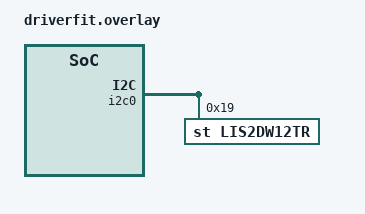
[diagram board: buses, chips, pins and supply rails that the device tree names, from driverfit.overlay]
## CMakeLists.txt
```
cmake_minimum_required(VERSION 3.20.0)
find_package(Zephyr REQUIRED HINTS $ENV{ZEPHYR_BASE})

project(project)

target_sources(app PRIVATE src/main.c)
target_sources(app PRIVATE src/i2c.c)
target_include_directories(app PRIVATE inc)
```

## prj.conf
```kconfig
# Enable the I2C driver
CONFIG_I2C=y
#CONFIG_I2C_NRFX=y

# see the logging from a serial terminal and enable the serial driver
#CONFIG_SERIAL=y

# enable support for floating-point format specifiers, so we can print the temperature readings as floats
CONFIG_CBPRINTF_FP_SUPPORT=y

# Enable Pin Control
CONFIG_PINCTRL=y

#CONFIG_BT=y
#CONFIG_BT_PERIPHERAL=y
#CONFIG_BT_BAS=y

#CONFIG_EEPROM=y

#CONFIG_SENSOR=y

# This driver only uses spi_write() with the SPIM instance it allocates,
# so PAN 58 doesn't matter, because the RX length is always 0.
#CONFIG_SOC_NRF52832_ALLOW_SPIM_DESPITE_PAN_58=y
#CONFIG_SPI=y
#CONFIG_LED_STRIP=y
# CONFIG_LED_STRIP_LOG_LEVEL_DBG=y
#CONFIG_WS2812_STRIP=y
```

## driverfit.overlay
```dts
// To get started, press Ctrl+Space to bring up the completion menu and view the available nodes.

// You can also use the buttons in the sidebar to perform actions on nodes.
// Actions currently available include:

// * Enabling / disabling the node
// * Adding the bus to a bus
// * Removing the node
// * Connecting ADC channels

// For more help, browse the DeviceTree documentation at https://docs.zephyrproject.org/latest/guides/dts/index.html
// You can also visit the nRF DeviceTree extension documentation at https://nrfconnect.github.io/vscode-nrf-connect/devicetree/nrfdevicetree.html


//#include <zephyr/dt-bindings/led/led.h>

/* #define SPI_FREQ    4000000
#define ZERO_FRAME  0x40
#define ONE_FRAME   0x70
*/

&i2c0 {
    compatible = "nordic,nrf-twi";
	status = "okay";
	pinctrl-0 = <&i2c0_default>;
	pinctrl-1 = <&i2c0_sleep>;
	pinctrl-names = "default", "sleep";

    /* twis_device1: bmp280@76{
        compatible = "bosch,bmp280";
        status = "okay";
        reg = < 0x76 >;
        label = "BMP280";
    }; */

    lis2dw12tr: lis2dw12tr@19 {
        compatible = "st,lis2dw12tr";
        status = "okay";
        label = "LIS2DW12TR";
        reg = <0x19>;
    };

    /* twis_device3: at24c512c@50 {
        compatible = "atmel,AT24C512C";
        status = "okay";
        label = "AT24C512C";
        reg = <0x50>;
    };

    twis_device4: at24c512c@5B {
        compatible = "rohm,BH1790GLC";
        status = "okay";
        label = "BH1790GLC";
        reg = <0x5B>;
    };

    twis_device5: max17260@1A {
        compatible = "maxim,MAX17260";
        status = "okay";
        label = "MAX17260";
        reg = <0x1A>;
    }; */
};

// &spi0 {
   //  compatible = "nordic,nrf-spim";
    // status = "okay";
	// led_strip: ws2812@0 {
		// compatible = "worldsemi,ws2812-spi";

		/* SPI */
		// reg = <0>; /* ignored, but necessary for SPI bindings */
        // spi-max-frequency = < SPI_FREQ >;

		/* WS2812 */
		// chain-length = <16>; /* arbitrary; change at will */
		// color-mapping = <LED_COLOR_ID_GREEN
			//	 LED_COLOR_ID_RED
				//  LED_COLOR_ID_BLUE>;
		//spi-one-frame = <ONE_FRAME>;
		// spi-zero-frame = <ZERO_FRAME>;
	//};
//};

/* {
	aliases {
		led-strip = &led_strip;
	};
}; */
```

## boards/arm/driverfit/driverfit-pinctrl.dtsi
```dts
// Based on:
// https://github.com/zephyrproject-rtos/zephyr/blob/main/boards/arm/adafruit_feather_nrf52840/adafruit_feather_nrf52840-pinctrl.dtsi
// and https://developer.nordicsemi.com/nRF_Connect_SDK/doc/2.3.0/nrf/app_dev/pin_control/index.html

&pinctrl{
    i2c0_default: i2c0_default {
		group1 {
			psels = <NRF_PSEL(TWIM_SDA, 0, 9)>,
				<NRF_PSEL(TWIM_SCL, 0, 6)>;
		};
	};

	i2c0_sleep: i2c0_sleep {
		group1 {
			psels = <NRF_PSEL(TWIM_SDA, 0, 9)>,
				<NRF_PSEL(TWIM_SCL, 0, 6)>;
			low-power-enable;
		};
	};

	/* spi0_default: spi0_default {
		group1 {
			psels = <NRF_PSEL(SPIM_MOSI, 0, 29)>;
		};
	};

	spi0_sleep: spi0_sleep {
		group1 {
			psels = <NRF_PSEL(SPIM_MOSI, 0, 29)>;
			low-power-enable;
		};
	}; */
};
```

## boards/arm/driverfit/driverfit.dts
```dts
// Copyright (c) 2023 Nordic Semiconductor ASA
// SPDX-License-Identifier: Apache-2.0

/dts-v1/;
#include <nordic/nrf52832_qfaa.dtsi>
#include "driverfit-pinctrl.dtsi"

/ {
	model = "DriverFit";
	compatible = "nordic,driverfit";

	chosen {
		zephyr,sram = &sram0;
		zephyr,flash = &flash0;
		zephyr,code-partition = &slot0_partition;
	};
};

&flash0 {
	partitions {
		compatible = "fixed-partitions";
		#address-cells = <1>;
		#size-cells = <1>;

		boot_partition: partition@0 {
			label = "mcuboot";
			reg = <0x0 0xc000>;
		};
		slot0_partition: partition@c000 {
			label = "image-0";
			reg = <0xc000 0x32000>;
		};
		slot1_partition: partition@3e000 {
			label = "image-1";
			reg = <0x3e000 0x32000>;
		};
		scratch_partition: partition@70000 {
			label = "image-scratch";
			reg = <0x70000 0xa000>;
		};
		storage_partition: partition@7a000 {
			label = "storage";
			reg = <0x7a000 0x6000>;
		};
	};
};
```

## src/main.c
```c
#include <zephyr/kernel.h>
#include <zephyr/drivers/i2c.h>
#include <zephyr/sys/printk.h>
#include <zephyr/logging/log.h>

// there are many examples on C:\ncs\v2.4.1\zephyr\samples, including - bluetooth peripheral heart rate (hr), rgb led, eeprom, i2c etc 

int main(void)
{
        return 0;
}
```

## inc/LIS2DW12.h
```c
/* @file LIS2DW12.h
   @brief header file for LIS2DW12 src file
   @author bheesma-10
   https://github.com/leagueofassassins/NRF52_BLE_CENTRAL-ESP32_BLE_PERIPHERAL/blob/main/BLE_Peripheral_NRF52/main/LIS2DW12.h
*/


/* 
  #include "driver/gpio.h"
  #include "driver/i2c.h"
  #include  "esp_err.h"
  #include  "esp_log.h"
  #include  "esp_system.h"
*/

#include <stdint.h>

/***********************Slave Address************************/

#define LIS2DW12_ADDRESS                0x19

/********************Register Definitions********************/


/*Read-only*/
#define OUT_T_L                          0x0D
#define OUT_T_H                          0x0E
#define WHO_AM_I                         0x0F
#define WHO_AM_I_VALUE                         0x44
#define OUT_T                            0x26
#define STATUS                           0x27
#define OUT_X_L                          0x28
#define OUT_X_H                          0x29
#define OUT_Y_L                          0x2A
#define OUT_Y_H                          0x2B
#define OUT_Z_L                          0x2C
#define OUT_Z_H                          0x2D

#define FIFO_SAMPLES                     0x2F

#define STATUS_DUP                       0x37
#define WAKE_UP_SRC                      0x38
#define TAP_SRC                          0x39
#define SIXD_SRC                         0x3A
#define ALL_INT_SRC                      0x3B


/*Read-Write both*/
#define CTRL1                            0x20
#define CTRL2                            0x21
#define CTRL3                            0x22
#define CTRL4_INT1_PAD_CTRL              0x23
#define CTRL5_INT2_PAD_CTRL              0x24
#define CTRL6                            0x25

#define FIFO_CTRL                        0x2E

#define TAP_THS_X                        0x30
#define TAP_THS_Y                        0x31
#define TAP_THS_Z                        0x32
#define INT_DUR                          0x33
#define WAKE_UP_THS                      0x34
#define WAKE_UP_DUR                      0x35
#define FREE_FALL                        0x36

#define X_OFS_USR                        0x3C
#define Y_OFS_USR                        0x3D
#define Z_OFS_USR                        0x3E
#define CTRL7                            0x3F


/********************Bits Definition*********************/

/*
  @brief: CTRL1 register bits
  @default: 00000000
  */

/*Low-power mode selection*/
#define LP_MODE_POS                    (0U)
#define LP_MODE_MSK                    (0x03UL << LP_MODE_POS)
#define LP_MODE1                       ~(LP_MODE_MSK)
#define LP_MODE2                       (0x01UL << LP_MODE_POS)
#define LP_MODE3                       (0x02UL << LP_MODE_POS)
#define LP_MODE4                       (LP_MODE_MSK)


/*Mode selection*/
#define MODE_POS                       (2U)
#define MODE_MSK                       (0x03UL << MODE_POS)
#define LOW_POWER_MODE                 ~(MODE_MSK)
#define HIGH_PERFORMANCE_MODE          (0x01UL << MODE_POS)
#define SINGLE_DATA_CONVERSION_MODE    (0x02UL << MODE_POS)


/*Data rate configuration*/
#define ODR_POS                        (4U)
#define ODR_MSK                        (0x0FUL << ODR_POS)
#define POWER_DOWN                     ~(ODR_MSK)
#define LOW_POWER_MODE_1_6HZ           (0x01UL << ODR_POS)
#define LOW_POWER_MODE_12_5HZ          (0x02UL << ODR_POS)
#define LOW_POWER_MODE_25HZ            (0x03UL << ODR_POS)
#define LOW_POWER_MODE_50HZ            (0x04UL << ODR_POS)
#define LOW_POWER_MODE_100HZ           (0x05UL << ODR_POS)
#define LOW_POWER_MODE_200HZ           (0x06UL << ODR_POS)
#define LOW_POWER_MODE_400HZ           (0x07UL << ODR_POS)
#define LOW_POWER_MODE_800HZ           (0x08UL << ODR_POS)
#define LOW_POWER_MODE_1600HZ          (0x09UL << ODR_POS)

/*
  @brief: CTRL2 register
  @default: 00000100
  */

#define SIM_POS                        (0U)
#define SIM_MSK                        (0x01UL << SIM_POS)

#define I2C_DISABLE_POS                (1U)
#define I2C_DISABLE_MSK                (0x01UL << I2C_DISABLE_POS)

#define IF_ADD_INC_POS                 (2U)
#define IF_ADD_INC_MSK                 (0x01UL << IF_ADD_INC_POS)

#define BDU_POS                        (3U)
#define BDU_MSK                        (0x01UL << BDU_POS)

#define CS_PU_DISC_POS                 (4U)
#define CS_PU_DISC_MSK                 (0x01UL << CS_PU_DISC_POS)

#define SOFT_RESET_POS                 (6U)
#define SOFT_RESET_MSK                 (0x01UL << SOFT_RESET_POS)

#define BOOT_POS                       (7U)
#define BOOT_MSK                       (0x01UL << BOOT_POS)

/*
  @brief: CTRL3 register
  @default: 00000000
  */

#define SLP_MODE1_POS                  (0U)
#define SLP_MODE1_MSK                  (0x01UL << SLP_MODE1_POS)

#define SLP_MODE_SEL_POS               (1U)
#define SLP_MODE_SEL_MSK               (0x01UL << SLP_MODE_SEL_POS)

#define H_LACTIVE_POS                  (3U)
#define H_LACTIVE_MSK                  (0x01UL << H_LACTIVE_POS)

#define LIR_POS                        (4U)
#define LIR_MSK                        (0x01UL << LIR_POS)

#define PP_OD_POS                      (5U)
#define PP_OD_MSK                      (0x01UL << PP_OD_POS)

#define SELF_TEST_POS                  (6U)
#define SELF_TEST_MSK                  (0x03UL << SELF_TEST_POS)
#define NORMAL_MODE                    ~(SELF_TEST_MSK)
#define POS_SELF_TEST                  (0x01UL << SELF_TEST_POS)
#define NEG_SELF_TEST                  (0x02UL << SELF_TEST_POS)


/*
  @brief: CTRL6 register
  @default: 00000000
  */

#define LOW_NOISE_POS                  (2U)
#define LOW_NOISE_POS_MSK              (0x01UL << LOW_NOISE_POS)

#define FDS_POS                        (3U)
#define FDS_MSK                        (0x01UL << FDS_POS)

#define FS_POS                         (4U)
#define FS_MSK                         (0x03UL << FS_POS)
#define FS_2G                          ~(FS_MSK)
#define FS_4G                          (0x01UL << FS_POS)
#define FS_8G                          (0x02UL << FS_POS)
#define FS_16G                         (0x03UL << FS_POS)


#define BW_FILT_POS                    (6U)
#define BW_FILT_MSK                    (0x03UL << BW_FILT_POS)
#define BW_FILT_ODR_2                  ~(BW_FILT_MSK)
#define BW_FILT_ODR_4                  (0x01UL << BW_FILT_POS)
#define BW_FILT_ODR_10                 (0x02UL << BW_FILT_POS)
#define BW_FILT_ODR_20                 (0x03UL << BW_FILT_POS)

/*
  @brief: FIFO_CTRL register
  @default: 00000000
  */

#define FTH_POS                        (0U)
#define FTH_MSK                        (0x1F << FTH_POS)

#define FMODE_POS                      (5U)
#define FMODE_MSK                      (0x07UL << FMODE_POS)
#define FMODE_BYPASS                   ~(FMODE_MSK)
#define FMODE_FIFO                     (0x01UL << FMODE_POS)
#define FMODE_STREAM_TO_FIFO           (0x03UL << FMODE_POS)
#define FMODE_BYPASS_TO_STREAM         (0x04UL << FMODE_POS)
#define FMODE_STREAM                   (0x06UL << FMODE_POS)

/*X,Y,Z axes raw data*/
union {
  uint16_t x_axes_raw;
  uint8_t  X_OUT[2];
}raw_X_axesvalue;

union{
  uint16_t y_axes_raw;
  uint8_t  Y_OUT[2];
}raw_Y_axesvalue;

union{
  uint16_t z_axes_raw;
  uint8_t  Z_OUT[2];
}raw_Z_axesvalue;


/*functions*/
int i2c_init(void);
void i2c_write_reg(uint8_t register_address,uint8_t data);
uint8_t i2c_read_reg(uint8_t register_address);
void lis2dw12_init(const char* TAG);
uint8_t get_x_axes_data(void);
uint8_t get_y_axes_data(void);
uint8_t get_z_axes_data(void);
```

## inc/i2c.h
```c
#define STTS751_TEMP_HIGH_REG            0x00
#define STTS751_TEMP_LOW_REG             0x02
#define STTS751_CONFIG_REG               0x03
```

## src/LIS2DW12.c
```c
/* 
        I2C Example using NRF Connect SDK
    https://academy.nordicsemi.com/courses/nrf-connect-sdk-fundamentals/lessons/lesson-6-serial-com-i2c/topic/exercise-1-6-2/
*/

// include the header file of the I2C API
#include <zephyr/drivers/i2c.h>
#include <zephyr/drivers/sensor.h>

// To display the sensor readings on the console, we will use the simple printk()
// Include the header file <sys/printk.h> to use printk()
#include <zephyr/sys/printk.h>

#include "LIS2DW12.h"

// Get the node identifier of the sensor
#define I2C0_NODE DT_NODELABEL(lis2dw12tr)

/*
    Define the addresses of the relevant registers (from the sensor datasheet). 
    Typically this information goes into a separate header file (.h). 
    However, for the sake of keeping this demonstration simple, we will add them in main.c.

    I AM USING THE STTS751 SENSOR JUST FOR DEMONSTRATION BECAUSE OF THE TUTORIAL
*/



/*
    Retrieve the API-specific device structure and make sure that the device is ready to use
    With this, we have the pointer to the device structure of the I2C controller and the sensor address(slave device address) 
    and can start using the I2C driver API to configure the sensor connected to the I2C controller
*/

int i2c_init(void){
    static const struct i2c_dt_spec dev_lis2dw12 = I2C_DT_SPEC_GET(I2C0_NODE);

    if (!device_is_ready(dev_lis2dw12.bus)) {
        printk("I2C bus %s is not ready!\n\r",dev_lis2dw12.bus->name);
        return 1;
    }

    int ret = 0;
    uint8_t who_am_i_read = 0;
    ret = i2c_burst_read_dt(&dev_lis2dw12, WHO_AM_I, who_am_i_read, sizeof(who_am_i_read));
    if(ret != 0){
		printk("Failed to read to I2C device address 0x%c at Reg. 0x%c\n", dev_lis2dw12.addr, WHO_AM_I);
        return 1;
	}

    if(who_am_i_read != WHO_AM_I_VALUE){
        printk("Wrong WHO_AM_I value: %c\n", who_am_i_read);
        return 1;
    }

    // CTRL 1
    uint8_t config_ctrl_1[2] = {CTRL1,LOW_POWER_MODE_12_5HZ || HIGH_PERFORMANCE_MODE || LP_MODE4};
    ret = i2c_write_dt(&dev_lis2dw12, config_ctrl_1, sizeof(config_ctrl_1));
	if(ret != 0){
		printk("Failed to write to I2C device address %x at Reg. %x \n", dev_lis2dw12.addr,config_ctrl_1[0]);
		return;
	}

    // IN CTRL 2 EVERYTHING IS AT DEFAULT (0), NO NEED TO WRITE ANYTHING

    // IN CTRL 3 EVERYTHING IS AT DEFAULT (0), NO NEED TO WRITE ANYTHING

    // CTRL 6
    uint8_t config_ctrl_6[2] = {CTRL6,LOW_NOISE_POS_MSK || FS_4G || BW_FILT_ODR_2};
    ret = i2c_write_dt(&dev_lis2dw12, config_ctrl_6, sizeof(config_ctrl_6));
	if(ret != 0){
		printk("Failed to write to I2C device address %x at Reg. %x \n", dev_lis2dw12.addr,config_ctrl_6[0]);
		return;
	}

    /*
        Now we need to configure the sensor by writing to the configuration register.
        configuration register has the address 0x03
        bit combination we need to use is 10001100 which is 0x8C
        This is the value we need to write to the configuration register
    */

    uint8_t config[2] = {STTS751_CONFIG_REG,0x8C};
	ret = i2c_write_dt(&dev_lis2dw12, config, sizeof(config));
	if(ret != 0){
		printk("Failed to write to I2C device address %x at Reg. %x \n", dev_lis2dw12.addr,config[0]);
		return;
	}

    /*
        Once the sensor is configured, 
        reading the temperature is a straightforward task of reading the two registers 
        temperature value high byte and temperature value low byte

        In order to read the registers, 
        we first need to write the address and then issue a read. 
        We will use the i2c_write_read_dt() API to do that in one shot
    */

   while (1){
        uint8_t temp_reading[2]= {0};
        uint8_t sensor_regs[2] ={STTS751_TEMP_LOW_REG,STTS751_TEMP_HIGH_REG};
        ret = i2c_write_read_dt(&dev_lis2dw12,&sensor_regs[0],1,&temp_reading[0],1);
        if(ret != 0){
            printk("Failed to write/read I2C device address %x at Reg. %x \r\n", dev_lis2dw12.addr,sensor_regs[0]);
        }
        ret = i2c_write_read_dt(&dev_lis2dw12,&sensor_regs[1],1,&temp_reading[1],1);
        if(ret != 0){
            printk("Failed to write/read I2C device address %x at Reg. %x \r\n", dev_lis2dw12.addr,sensor_regs[1]);
        }

        /*
            Now that we have the temperature reading in raw bytes, the next step to do is to convert them to Celsius and Fahrenheit
        */

        int temp = ((int)temp_reading[1] * 256 + ((int)temp_reading[0] & 0xF0)) / 16;
        if(temp > 2047)
        {
            temp -= 4096;
        }
        // Convert to engineering units 
        double cTemp = temp * 0.0625;
        double fTemp = cTemp * 1.8 + 32;
        //Print reading to console  
        printk("Temperature in Celsius : %.2f C \n", cTemp);
        printk("Temperature in Fahrenheit : %.2f F \n", fTemp);

        /*
            Build the application and flash it on your development kit. Using a serial terminal you should see the below output
        */
   }

   return 1
    
}
```

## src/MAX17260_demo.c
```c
// max17260.c

#include <zephyr/kernel.h>
#include <zephyr/device.h>
#include <zephyr/devicetree.h>
#include <zephyr/drivers/sensor.h>


int main(void)
{
	const struct device *const dev = DEVICE_DT_GET_ONE(maxim_max17262);

	if (!device_is_ready(dev)) {
		printk("sensor: device not ready.\n");
		return 0;
	}

	while (1) {
		struct sensor_value voltage, avg_current, temperature;
		float i_avg;

		sensor_sample_fetch(dev);
		sensor_channel_get(dev, SENSOR_CHAN_GAUGE_VOLTAGE, &voltage);
		sensor_channel_get(dev, SENSOR_CHAN_GAUGE_AVG_CURRENT,
						  &avg_current);
		sensor_channel_get(dev, SENSOR_CHAN_GAUGE_TEMP, &temperature);

		i_avg = avg_current.val1 + (avg_current.val2 / 1000000.0);

		printk("V: %d.%06d V; I: %f mA; T: %d.%06d °C\n",
		      voltage.val1, voltage.val2, (double)i_avg,
		      temperature.val1, temperature.val2);

		k_sleep(K_MSEC(1000));
	}
	return 0;
}

// Analog Voltage Measurement
#define REG_VCELL 0x09
#define REG_AVGVCELL 0x19
#define REG_MAXMINVOLT 0x1b

// Analog Current Measurement
#define REG_CURRENT 0x0a
#define REG_AVGCURRENT 0x0b
#define REG_MAXMINCURR 0x1c

// Analog temperature measurement
#define REG_TEMP 0x08
#define REG_AVGTA 0x16
#define REG_MAXMINTEMP 0x1a
#define REG_DIETEMP 0x34

// Alert Function
#define REG_VALRTTH 0x01
#define REG_TALRTTH 0x02
#define REG_SALRTTH 0x03
#define REG_IALERTTH 0xb4


// Empty Hold And 99% Hold
#define REG_SOCHOLD 0xd3

// Lithium Iron Phosphate Support
#define REG_SCOCVLIM 0xd1

// Current Measurements
#define REG_CGAIN 0x2e
#define REG_COFF 0x2f

// Copper Trace Current Testing
#define REG_CURVE 0xb9
#define REG_CGTEMPCO 0xb8

// Temperature Measurements
#define REG_AIN 0x27
#define REG_TGAIN 0x2c
#define REG_TOFF 0x2d

// Dynamic Power Output Registers
#define REG_MPPCURRENT 0xd9
#define REG_SPPCURRENT 0xda
#define REG_MAXPEAKPOWER 0xd4
#define REG_SUSPEAKPOWER 0xd5

// Dynamic Power Configuration Registers
#define REG_PACKRESISTANCE 0xd6
#define REG_SYSRESISTANCE 0xd7
#define REG_MINSYSVOLTAGE 0xd8
#define REG_RGAIN 0x43

// ModelGauge m5 Algorithm Battery Parameters
#define REG_VEMPTY 0x3a
#define REG_DESIGNCAP 0x18
#define REG_MODELCFG 0xdb
#define REG_ICHGTERM 0x1e
#define REG_FULLSOCTHR 0x13
#define REG_OCVTABLE0 0x80
#define REG_OCVTABLE15 0x8f
#define REG_XTABLE0 0x90
#define REG_XTABLE15 0x9f
#define REG_QRTABLE00 0x12
#define REG_QRTABLE10 0x22
#define REG_QRTABLE20 0x32
#define REG_QRTABLE30 0x42
#define REG_RCOMP0 0x38
#define REG_TEMPCO 0x39

// ModelGauge m5 Output Registers
#define REG_REPCAP 0x05
#define REG_ATAVCAP 0xdf
#define REG_REPSOC 0x06
#define REG_ATAVSOC 0xde
#define REG_FULLCAPREP 0x10
#define REG_FULLCAP 0x35
#define REG_FULLCAPNOM 0x23
#define REG_TTE 0x11
#define REG_ATTTE 0xdd
#define REG_TTF 0x20
#define REG_CYCLES 0x17
#define REG_STATUS 0x00
#define REG_AGE 0x07
#define REG_TIMERH 0xbe
#define REG_TIMER 0x3e
#define REG_RCELL 0x14
#define REG_VRIPPLE 0xbc

// ModelGauge m5 Algorithm Configuration Registers
#define REG_ATRATE 0x04
#define REG_FILTERCFG 0x29
#define REG_RELAXCFG 0x2a
#define REG_LEARNCFG 0x28
#define REG_MISCCFG 0x2b
#define REG_CONVGCFG 0x49
#define REG_RIPPLECFG 0xbd

// ModelGauge m5 Algorithm Additional Registers
#define REG_DQACC 0x45
#define REG_DPACC 0x46
#define REG_QRESIDUAL 0x0c
#define REG_ATQRESIDUAL 0xdc
#define REG_VFSOC 0xff
#define REG_VFOCV 0xfb
#define REG_QH 0x4d
#define REG_AVCAP 0x1f
#define REG_AVSOC 0x0e
#define REG_MIXCAP 0x0f
#define REG_MIXSOC 0x0d
#define REG_VFREMCAP 0x4a
#define REG_FSTAT 0x3d

// Status And Configuration Registers
#define REG_CONFIG 0x1d
#define REG_CONFIG2 0xbb
#define REG_DEVNAME 0x21
#define REG_SHDNTIMER 0x3f
#define REG_STATUS2 0xb0
#define REG_HIBCFG 0xba
#define REG_SOFTWAKEUP 0x60

// Analog Power Data
#define REG_POWER 0xb1
#define REG_AVGPOWER 0xb3



#define REG_ID_USERMEM2 0xb2
#define REG_TTFCFG 0xb5
#define REG_CVMIXCAP 0xb6
#define REG_CVHALFTIME 0xb7

#define REG_RSENSE_USERMEM3 0xd0
#define REG_VGAIN 0xd2

#define SLAVE_ADDR 0x36

// Get relative state of charge in %
int8_t fg_get_rsoc(void) {
	uint16_t data;
	if(pic18_i2c_read(SLAVE_ADDR, REG_REPSOC, &data, 2) < 0)
		return -1;
	return data/256;
}
// Get relative state of health in %
int8_t fg_get_rsoh(void) {
	uint16_t soh;

	if(pic18_i2c_read(SLAVE_ADDR, REG_AGE, &soh, 2) < 0)
		return -1;
	return soh/256;
}


// *********** Conversion constants and macros ***********
// RSENSE mOhm
#define RSENSE  2
#define RegToVal(x, y)  (x * y / RSENSE)
// VCAP uV - coltage to convert capacity
#define VCAP    5
#define Reg2VCAP(x)    RegToVal(x, VCAP)
// VCURR uV - voltage to convert current
#define VCURR   1.5625
#define Reg2Curr(x)    RegToVal(x, VCURR)
// VPOW u(V*V) - coefficient to calculate power measurements
#define VPOW    8
#define Reg2Pow(x)     RegToVal(x, VPOW)
// VoltageStep
#define Reg2mV(x)    (x /12.8)

// Get remaining capacity of the battery in mA-h
int16_t fg_get_rcap(void) {
	uint16_t data;

    if(pic18_i2c_read(SLAVE_ADDR, REG_REPCAP, &data, 2) < 0)
            return -1;
    return Reg2VCAP(data);
}
// Get full capacity of the battery in mA-h
int16_t fg_get_fcap(void) {
	uint16_t data;

    if(pic18_i2c_read(SLAVE_ADDR, REG_FULLCAPREP, &data, 2) < 0)
            return -1;
    return Reg2VCAP(data);
}

// Get nominal  full capacity of the battery in mA-h
int16_t fg_get_fcap_nom(void) {
	uint16_t data;

    if(pic18_i2c_read(SLAVE_ADDR, REG_FULLCAPNOM, &data, 2) < 0)
            return -1;
    return Reg2VCAP(data);
}

// Get full capacity of the battery in mA-h
int16_t fg_get_vcel(TBool average) {
	uint16_t data;
    if(pic18_i2c_read(SLAVE_ADDR, average?REG_AVGVCELL:REG_VCELL, &data, 2) < 0)
            return -1;
    return Reg2mV(data);
}

int16_t fg_get_curr(TBool average) {
	int16_t data;

    if(pic18_i2c_read(SLAVE_ADDR, average?REG_AVGCURRENT:REG_CURRENT, &data, 2) < 0)
        return -1;
    return Reg2Curr(data);
}

// Get power in mW
int16_t fg_get_power(TBool average) {
	int16_t data;

    if(pic18_i2c_read(SLAVE_ADDR, average?REG_AVGPOWER:REG_POWER, &data, 2) < 0)
        return -1;
    return Reg2Pow(data);
}

typedef union {
    uint16_t data;
    struct {
        unsigned unused2: 1;
        unsigned por    : 1;
        unsigned imn    : 1;
        unsigned bst    : 1;
        unsigned unused1: 2;
        unsigned lmx    : 1;
        unsigned dsoci  : 1;
        unsigned vmn    : 1;
        unsigned tmn    : 1;
        unsigned smn    : 1;
        unsigned bi     : 1;
        unsigned vmx    : 1;
        unsigned tmx    : 1;
        unsigned smx    : 1;
        unsigned br     : 1;
    };
} fg_status_t;

#define ReadRegister(addr, val)  { pic18_i2c_read(SLAVE_ADDR, addr, val, 2);}
uint16_t fg_tx_val;
#define WriteRegister(addr, val) { fg_tx_val = val; pic18_i2c_write(SLAVE_ADDR, addr, &fg_tx_val, 2);}
// Design capacity measured in 0.5ma-h units in FG. 
#define DesignCapacity  (3700 / 2)
// 250mA on 10mOhm
//#define IchgTerm        (0x0640)
// 200mA on 2mOhm
#define IchgTerm        (0x0140)

// 3.3/3.88
#define Vempty          (0xA561)
extern void Delay(uint16_t t);
void fg_init(void){
    fg_status_t _st;
    ReadRegister(REG_STATUS, &_st.data);
    if(_st.por || _st.br){   
        uint16_t HibCFG;
        _st.por = 0;
        _st.br = 0;
        WriteRegister(REG_STATUS, _st.data);
        ReadRegister(REG_HIBCFG, &HibCFG);
        WriteRegister(REG_SOFTWAKEUP, 0x90);
        WriteRegister(REG_HIBCFG, 0x00);
        WriteRegister(REG_SOFTWAKEUP, 0x90);

        WriteRegister(REG_DESIGNCAP, DesignCapacity);
        WriteRegister(REG_ICHGTERM,IchgTerm);
        WriteRegister(REG_VEMPTY,Vempty);

        WriteRegister (REG_MODELCFG , 0x8000) ;
        uint16_t _wait = 0x8000;
        while (_wait){
            ReadRegister(REG_MODELCFG, &_wait);
            _wait &=0x8000;
            Delay(10);
        }
        WriteRegister (REG_HIBCFG , HibCFG);
        ReadRegister(REG_STATUS, &_st.data);
    
    }
    NOP();
//    // Now we can read everything
//    uint16_t fcap = fg_get_fcap();
//    uint16_t rcap = fg_get_rcap();
//    uint16_t rsoc = fg_get_rsoc();
//    uint16_t rsoh = fg_get_rsoh();
  
}
```

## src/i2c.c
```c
/* 
        I2C Example using NRF Connect SDK
    https://academy.nordicsemi.com/courses/nrf-connect-sdk-fundamentals/lessons/lesson-6-serial-com-i2c/topic/exercise-1-6-2/
*/

// include the header file of the I2C API
#include <zephyr/drivers/i2c.h>
#include <zephyr/drivers/sensor.h>

// To display the sensor readings on the console, we will use the simple printk()
// Include the header file <sys/printk.h> to use printk()
#include <zephyr/sys/printk.h>

#include "i2c.h"

// Get the node identifier of the sensor
#define I2C0_NODE DT_NODELABEL(lis2dw12tr)

/*
    Define the addresses of the relevant registers (from the sensor datasheet). 
    Typically this information goes into a separate header file (.h). 
    However, for the sake of keeping this demonstration simple, we will add them in main.c.

    I AM USING THE STTS751 SENSOR JUST FOR DEMONSTRATION BECAUSE OF THE TUTORIAL
*/



/*
    Retrieve the API-specific device structure and make sure that the device is ready to use
    With this, we have the pointer to the device structure of the I2C controller and the sensor address(slave device address) 
    and can start using the I2C driver API to configure the sensor connected to the I2C controller
*/

void init(){
    static const struct i2c_dt_spec dev_i2c = I2C_DT_SPEC_GET(I2C0_NODE);
    const struct device *const dev = DEVICE_DT_GET_ANY(maxim_max30101);

    if (!device_is_ready(dev_i2c.bus)) {
        printk("I2C bus %s is not ready!\n\r",dev_i2c.bus->name);
        return;
    }

    /*
        Now we need to configure the sensor by writing to the configuration register.
        configuration register has the address 0x03
        bit combination we need to use is 10001100 which is 0x8C
        This is the value we need to write to the configuration register
    */

    int ret = 0;
    uint8_t config[2] = {STTS751_CONFIG_REG,0x8C};
	ret = i2c_write_dt(&dev_i2c, config, sizeof(config));
	if(ret != 0){
		printk("Failed to write to I2C device address %x at Reg. %x \n", dev_i2c.addr,config[0]);
		return;
	}

    /*
        Once the sensor is configured, 
        reading the temperature is a straightforward task of reading the two registers 
        temperature value high byte and temperature value low byte

        In order to read the registers, 
        we first need to write the address and then issue a read. 
        We will use the i2c_write_read_dt() API to do that in one shot
    */

   while (1){
    uint8_t temp_reading[2]= {0};
    uint8_t sensor_regs[2] ={STTS751_TEMP_LOW_REG,STTS751_TEMP_HIGH_REG};
    ret = i2c_write_read_dt(&dev_i2c,&sensor_regs[0],1,&temp_reading[0],1);
    if(ret != 0){
        printk("Failed to write/read I2C device address %x at Reg. %x \r\n", dev_i2c.addr,sensor_regs[0]);
    }
    ret = i2c_write_read_dt(&dev_i2c,&sensor_regs[1],1,&temp_reading[1],1);
    if(ret != 0){
        printk("Failed to write/read I2C device address %x at Reg. %x \r\n", dev_i2c.addr,sensor_regs[1]);
    }

    /*
        Now that we have the temperature reading in raw bytes, the next step to do is to convert them to Celsius and Fahrenheit
    */

    int temp = ((int)temp_reading[1] * 256 + ((int)temp_reading[0] & 0xF0)) / 16;
    if(temp > 2047)
    {
        temp -= 4096;
    }
    // Convert to engineering units 
    double cTemp = temp * 0.0625;
    double fTemp = cTemp * 1.8 + 32;
    //Print reading to console  
    printk("Temperature in Celsius : %.2f C \n", cTemp);
    printk("Temperature in Fahrenheit : %.2f F \n", fTemp);

    /*
        Build the application and flash it on your development kit. Using a serial terminal you should see the below output
    */
   }
    
}
```

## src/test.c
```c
/*
 * Copyright 2022 u-blox
 *
 * Licensed under the Apache License, Version 2.0 (the "License");
 * you may not use this file except in compliance with the License.
 * You may obtain a copy of the License at
 *
 *  http://www.apache.org/licenses/LICENSE-2.0
 *
 * Unless required by applicable law or agreed to in writing, software
 * distributed under the License is distributed on an "AS IS" BASIS,
 * WITHOUT WARRANTIES OR CONDITIONS OF ANY KIND, either express or implied.
 * See the License for the specific language governing permissions and
 * limitations under the License.
 */

#include <zephyr/logging/log.h>
#include <zephyr/device.h>
#include <zephyr/drivers/sensor.h>
#include <zephyr/drivers/i2c.h>
#include <zephyr/pm/pm.h>
#include <zephyr/pm/device.h>
#include <lis2dw12_reg.h>

LOG_MODULE_REGISTER(sensors, LOG_LEVEL_DBG);

#define I2C_DEV DT_NODELABEL(i2c0)

#define APDS_9306_065_ADDRESS   0x52
#define APDS_9306_065_REG_ID    0x06
#define APDS_9306_065_CHIP_ID   0xB3

static int configureLis2dw12Default(const struct device *lis2dw12Dev);

int sensorsInit(void)
{
    int err = 0;
    const struct device *bme_device = DEVICE_DT_GET_ANY(bosch_bme280);
    const struct device *lis2dw12 = DEVICE_DT_GET_ANY(st_lis2dw12);

    // Power down to save power
    if (bme_device != NULL) {
        err = pm_device_action_run(bme_device, PM_DEVICE_ACTION_SUSPEND);
        if (err != 0) {
            LOG_ERR("bosch_bme280 suspend err: %d", err);
        }
    }

    if (device_is_ready(lis2dw12)) {
        err = configureLis2dw12Default(lis2dw12);
    }

    return err;
}

bool sensorsGetBme280Data(struct sensor_value *temp, struct sensor_value *press,
                          struct sensor_value *humidity)
{
    int err;
    const struct device *sensor = DEVICE_DT_GET_ANY(bosch_bme280);

    if (sensor == NULL) {
        LOG_ERR("Error: no device found.");
        return false;
    }

    if (!device_is_ready(sensor)) {
        LOG_ERR("Error: Device \"%s\" is not ready; "
                "check the driver initialization logs for errors.",
                sensor->name);
        return false;
    }

    err = pm_device_action_run(sensor, PM_DEVICE_ACTION_RESUME);
    if (err != 0 && err != -EALREADY) {
        LOG_ERR("Error: Could not resume from suspended state BME280");
        return false;
    }

    err = sensor_sample_fetch(sensor);
    if (!err) {
        sensor_channel_get(sensor, SENSOR_CHAN_AMBIENT_TEMP, temp);
        sensor_channel_get(sensor, SENSOR_CHAN_PRESS, press);
        sensor_channel_get(sensor, SENSOR_CHAN_HUMIDITY, humidity);

        LOG_DBG("temp: %d.%06d; press: %d.%06d; humidity: %d.%06d",
                temp->val1, temp->val2, press->val1, press->val2,
                humidity->val1, humidity->val2);
    } else {
        LOG_ERR("Failed fetching sample from %s", sensor->name);
        return false;
    }

    err = pm_device_action_run(sensor, PM_DEVICE_ACTION_SUSPEND);
    if (err != 0 && err != -EALREADY) {
        LOG_ERR("Error: Could not PM_DEVICE_ACTION_SUSPEND from resumed state BME280");
        return false;
    }

    return true;
}

bool sensorsGetLis2dw12(int16_t *x, int16_t *y, int16_t *z)
{
    struct sensor_value acc_val[3];
    const struct device *sensor = DEVICE_DT_GET_ANY(st_lis2dw12);

    if (sensor == NULL) {
        LOG_ERR("Could not get %s device", DT_LABEL(DT_INST(0, st_lis2dw12)));
        return false;
    }

    if (!device_is_ready(sensor)) {
        LOG_ERR("Error: Device \"%s\" is not ready; "
                "check the driver initialization logs for errors.",
                sensor->name);
        return false;
    }

    int err = sensor_sample_fetch(sensor);
    if (err) {
        LOG_ERR("Could not fetch sample from %s", sensor->name);
        return false;
    }
    if (!err) {
        sensor_channel_get(sensor, SENSOR_CHAN_ACCEL_XYZ, acc_val);
        *x = (int16_t)(sensor_value_to_double(&acc_val[0]) * (32768 / 16));
        *y = (int16_t)(sensor_value_to_double(&acc_val[1]) * (32768 / 16));
        *z = (int16_t)(sensor_value_to_double(&acc_val[2]) * (32768 / 16));
        LOG_DBG("x: %d y: %d z: %d", *x, *y, *z);
    } else {
        LOG_ERR("Failed fetching sample from %s", sensor->name);
        return false;
    }

    return true;
}

bool sensorsDetectApds(void)
{
    uint8_t id = 0;
    const struct device *i2c_dev = DEVICE_DT_GET_OR_NULL(I2C_DEV);

    if (i2c_dev == NULL) {
        LOG_ERR("Error: no APDS device found.");
        return false;
    }

    if (!device_is_ready(i2c_dev)) {
        LOG_ERR("Error: Device \"%s\" is not ready; "
                "check the driver initialization logs for errors.",
                i2c_dev->name);
        return false;
    }

    /* Verify sensor working by reading the ID */
    int err = i2c_reg_read_byte(i2c_dev, APDS_9306_065_ADDRESS, APDS_9306_065_REG_ID, &id);
    if (err) {
        LOG_ERR("Failed reading device id from APDS");
        return false;
    }

    if (id == APDS_9306_065_CHIP_ID) {
        LOG_INF("APDS id: %d", id);
        return true;
    }

    return false;
}

static int configureLis2dw12Default(const struct device *lis2dw12Dev)
{
    int err;
    struct sensor_value val;
    stmdev_ctx_t *ctx = (stmdev_ctx_t *)lis2dw12Dev->config;

    /*
    Due to the design of the C209 HW by default there is a ~300uA current leak
    coming from the LIS_INT pin. This is due to a external pullup resistor on this pin and the fact
    that LIS2DW12 by default have an internal pulldown on the same pin.
    Fortunately LIS2DW12 have a configuration to disable the internal
    pulldown on INT1 pin and to make the INT1 pin active low instead.

    The current codebase does not use the LIS_INT/INT1 pin functionality, however if
    in future it is make sure to configure and check so that the Zephyr driver can handle
    swapped polarity of INT1/2 pins of the LIS2DW12.
    */
    err = lis2dw12_pin_polarity_set(ctx, LIS2DW12_ACTIVE_LOW);
    if (err) {
        LOG_ERR("Updating INT pin polarity");
        return err;
    }
    err = lis2dw12_pin_mode_set(ctx, LIS2DW12_OPEN_DRAIN);
    if (err) {
        LOG_ERR("Updating INT pin mode");
        return err;
    }
    val.val1 = 0; // ODR 0 will set LIS2DW12 into power down mode
    val.val2 = 0;
    err = sensor_attr_set(lis2dw12Dev, SENSOR_CHAN_ACCEL_XYZ, SENSOR_ATTR_SAMPLING_FREQUENCY, &val);
    if (err < 0) {
        LOG_ERR("lis2dw12 ODR set zero failed: %d", err);
    }

    return err;
}
```
